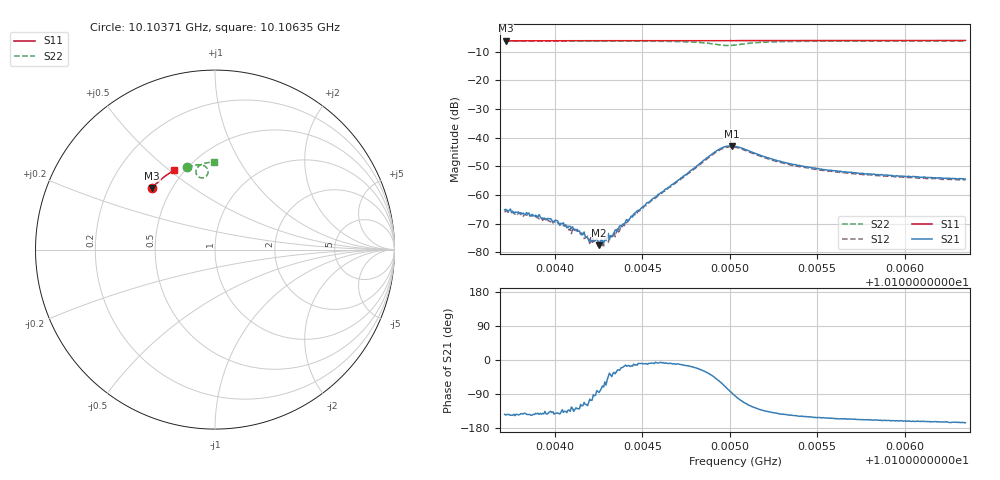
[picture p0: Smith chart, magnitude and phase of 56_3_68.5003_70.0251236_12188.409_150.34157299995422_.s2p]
#  HZ  S  RI  R  50.00
! Rohde & Schwarz Vector Network Analyzer
! Rohde-Schwarz,ZNB20-2Port,1311601062101988,3.16
! Created: UTC 3/20/2024, 4:51:03 PM
! freq[Hz]  re:S11  im:S11  re:S21  im:S21  re:S12  im:S12  re:S22  im:S22
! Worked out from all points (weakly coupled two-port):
!   401 points, 10.10371 GHz to 10.10635 GHz, reference 50 ohm
!   highest |S21| = -42.86 dB at 10.10501 GHz (marker M1); lowest = -77.5 dB at 10.10425 GHz (marker M2)
!   lowest |S11| = -6.2 dB at 10.10372 GHz (marker M3), VSWR 2.93, Z = 19.6 + j17.7 ohm
!   |S11| at or under -10 dB: nowhere
!   |S22| runs from -7.8 to -6.2 dB; largest |S21 - S12| = 0.0007
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1.0103711e10  -0.3504 0.3432  -0.000444 -0.000332  -0.000401 -0.0003  -0.1539 0.4578
1.0103718e10  -0.3502 0.3435  -0.000465 -0.000319  -0.0004 -0.000351  -0.1535 0.4579
1.0103968e10  -0.3397 0.3548  -0.000282 -0.000262  -0.000253 -0.000243  -0.1368 0.4637
1.010406e10  -0.3359 0.3588  -0.000217 -0.000212  -0.000184 -0.000219  -0.1301 0.4656
1.0104093e10  -0.3344 0.3602  -0.000147 -0.000218  -0.000127 -0.00017  -0.1276 0.4663
1.0104153e10  -0.3318 0.3627  -0.000104 -0.000173  -0.000109 -0.00019  -0.1232 0.4675
1.0104192e10  -0.3303 0.3645  -5.96e-05 -0.00015  -2.44e-05 -0.000179  -0.1203 0.4683
1.0104238e10  -0.3281 0.3665  2.74e-05 -0.000168  3.94e-06 -0.000149  -0.1167 0.4691
1.0104252e10  -0.3275 0.3673  1.07e-05 -0.000133  4.15e-05 -0.000127  -0.1156 0.4694
1.0104265e10  -0.327 0.3676  4.42e-05 -0.000165  4.52e-05 -0.000161  -0.1146 0.4696
1.0104291e10  -0.326 0.3688  6.71e-05 -0.000151  9.3e-05 -0.000132  -0.1126 0.4701
1.0104324e10  -0.3244 0.3701  0.000141 -0.000135  0.000149 -0.000112  -0.1097 0.4706
1.0104357e10  -0.3229 0.3715  0.00021 -0.000103  0.000234 -0.00011  -0.1069 0.4711
1.0104463e10  -0.3182 0.3759  0.000491 -0.000105  0.000494 -5.48e-05  -0.0973 0.4725
1.0104594e10  -0.3122 0.3812  0.00103 -0.000139  0.000993 -4.52e-05  -0.0831 0.473
1.0104917e10  -0.2971 0.3938  0.00386 -0.00422  0.00407 -0.0037  -0.0397 0.4251
1.010501e10  -0.293 0.3969  0.000429 -0.00718  0.00104 -0.00684  -0.0791 0.4001
1.0105029e10  -0.2921 0.3977  -0.000567 -0.00702  3.31e-05 -0.00681  -0.0891 0.4038
1.010526e10  -0.2814 0.4067  -0.00313 -0.00265  -0.00276 -0.00276  -0.0938 0.462
1.0105471e10  -0.271 0.4143  -0.0026 -0.00145  -0.00238 -0.00158  -0.0721 0.4758
1.0105913e10  -0.2488 0.4294  -0.00206 -0.00078  -0.0019 -0.000938  -0.0365 0.485
1.0106348e10  -0.2261 0.4428  -0.00184 -0.000476  -0.00171 -0.000635  -0.00574 0.4883
